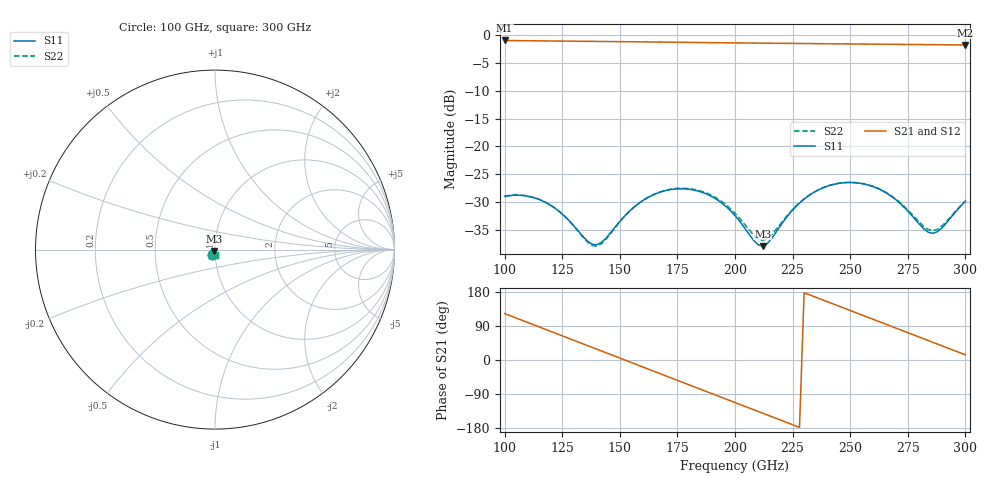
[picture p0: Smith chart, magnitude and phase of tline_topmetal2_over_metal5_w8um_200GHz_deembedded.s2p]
! Created with skrf 2.2.0 (http://scikit-rf.org).
# GHz S DB R 50.0
! Port[1] = P1
! Port[2] = P2
!freq dBS11 angS11 dBS21 angS21 dBS12 angS12 dBS22 angS22
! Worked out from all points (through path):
!   101 points, 100 GHz to 300 GHz, reference 50 ohm
!   highest |S21| = -0.94 dB at 100 GHz (marker M1); lowest = -1.8 dB at 300 GHz (marker M2)
!   group delay of S21, straight-line fit = 6.51 ps
!   lowest |S11| = -38.0 dB at 212 GHz (marker M3), VSWR 1.03, Z = 49.3 - j1.04 ohm
!   |S11| at or under -10 dB: start of sweep to end of sweep
!   |S22| runs from -38.0 to -26.5 dB; largest |S21 - S12| = 1e-13
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100  -29.02 -116.0  -0.94 122.5  -0.94 122.5  -28.99 -115.6
108  -28.85 -130.8  -0.98 103.7  -0.98 103.7  -28.82 -130.5
116  -29.75 -144.3  -1.01 85.0  -1.01 85.0  -29.72 -144.1
124  -31.82 -154.0  -1.05 66.2  -1.05 66.2  -31.82 -154.0
134  -36.22 -148.3  -1.09 42.7  -1.09 42.7  -36.35 -148.5
140  -37.72 -123.6  -1.11 28.6  -1.11 28.6  -37.97 -122.8
152  -32.59 -96.4  -1.16 0.4  -1.16 0.4  -32.63 -94.4
160  -29.76 -102.6  -1.19 -18.4  -1.19 -18.4  -29.74 -100.7
168  -28.19 -114.2  -1.23 -37.2  -1.23 -37.2  -28.13 -112.3
184  -28.05 -140.9  -1.31 -74.8  -1.31 -74.8  -27.91 -138.6
192  -29.55 -152.6  -1.34 -93.5  -1.34 -93.5  -29.32 -149.9
200  -32.46 -158.9  -1.38 -112.2  -1.38 -112.2  -32.04 -155.7
212  -37.96 -123.3  -1.42 -140.3  -1.42 -140.3  -36.92 -124.6
224  -31.94 -90.0  -1.47 -168.4  -1.47 -168.4  -31.79 -92.7
234  -28.34 -99.0  -1.51 168.1  -1.51 168.1  -28.32 -100.3
242  -26.93 -111.0  -1.54 149.4  -1.54 149.4  -26.92 -111.7
252  -26.54 -127.2  -1.58 126.0  -1.58 126.0  -26.52 -127.3
260  -27.27 -139.4  -1.61 107.2  -1.61 107.2  -27.22 -139.1
268  -29.04 -148.9  -1.64 88.5  -1.64 88.5  -28.94 -148.3
276  -32.10 -150.6  -1.66 69.8  -1.66 69.8  -31.86 -149.6
286  -35.65 -119.8  -1.70 46.4  -1.70 46.4  -35.18 -120.9
300  -29.89 -90.1  -1.75 13.6  -1.75 13.6  -29.85 -91.9
